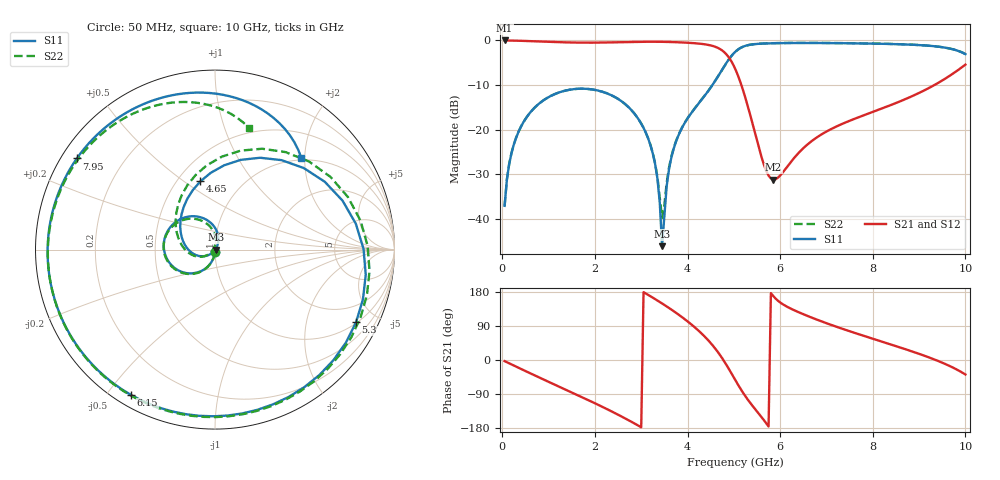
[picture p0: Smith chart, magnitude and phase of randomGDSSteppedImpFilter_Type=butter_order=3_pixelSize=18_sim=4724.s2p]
! freq	dB(S11)	phase(S11)	dB(S12)	phase(S12)
!  dB(S21)	phase(S21)	dB(S22)	phase(S22)
!S-par simulation data
#  GHz  S  DB  R 50
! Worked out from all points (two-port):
!   200 points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, 50 MHz to 10 GHz, reference 50 ohm
!   highest |S21| = -0.01 dB at 50 MHz (marker M1); lowest = -31.2 dB at 5.85 GHz (marker M2)
!   |S21| within 3 dB of the highest: start of sweep to 4.828 GHz
!   lowest |S11| = -46.2 dB at 3.45 GHz (marker M3), VSWR 1.01, Z = 50.5 - j0.0902 ohm
!   |S11| at or under -10 dB: start of sweep to 4.538 GHz
!   |S22| runs from -39.8 to -0.5 dB; largest |S21 - S12| = 0
!   S11 on the Smith chart (normalised r, x): 50 MHz: 1.00, -0.03; 4.65 GHz: 0.65, +0.58; 5.3 GHz: 1.04, -3.86; 6.15 GHz: 0.04, -0.58; 7.95 GHz: 0.04, +0.30; 10 GHz: 0.95, +1.93
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0.05  -37.13 -92.7  -0.01 -3.0  -0.01 -3.0  -37.13 -92.6
0.2  -25.21 -102.0  -0.03 -11.8  -0.03 -11.8  -25.21 -101.7
0.5  -17.63 -120.1  -0.12 -29.2  -0.12 -29.2  -17.63 -119.2
1.75  -10.83 168.0  -0.50 -99.7  -0.50 -99.7  -10.84 171.5
2.95  -17.82 92.1  -0.31 -174.0  -0.31 -174.0  -17.82 101.5
3.25  -25.37 69.5  -0.29 164.5  -0.29 164.5  -25.31 86.3
3.4  -36.34 54.6  -0.30 153.2  -0.30 153.2  -35.18 97.5
3.45  -46.18 -10.5  -0.31 149.3  -0.31 149.3  -39.81 141.0
3.55  -32.67 -130.1  -0.33 141.3  -0.33 141.3  -31.94 -147.0
3.75  -22.74 -149.3  -0.39 124.7  -0.39 124.7  -22.63 -149.0
4.25  -14.03 159.2  -0.71 76.1  -0.71 76.1  -14.00 167.7
4.65  -8.20 102.0  -1.65 22.0  -1.65 22.0  -8.20 113.5
4.9  -4.13 53.3  -3.92 -25.2  -3.92 -25.2  -4.15 64.9
5.05  -2.37 21.0  -6.87 -56.8  -6.87 -56.8  -2.38 32.2
5.3  -1.07 -27.3  -14.72 -104.4  -14.72 -104.4  -1.07 -16.7
5.85  -0.63 -95.4  -31.24 169.0  -31.24 169.0  -0.61 -85.1
6.15  -0.58 -120.1  -28.37 140.5  -28.37 140.5  -0.56 -109.4
6.7  -0.57 -154.8  -22.44 110.9  -22.44 110.9  -0.55 -142.8
7.95  -0.70 146.6  -16.24 58.1  -16.24 58.1  -0.68 163.3
8.35  -0.79 129.6  -14.67 42.6  -14.67 42.6  -0.77 148.2
9.3  -1.27 87.2  -10.19 2.8  -10.19 2.8  -1.27 110.7
10  -3.07 46.8  -5.44 -38.2  -5.44 -38.2  -3.06 74.3
